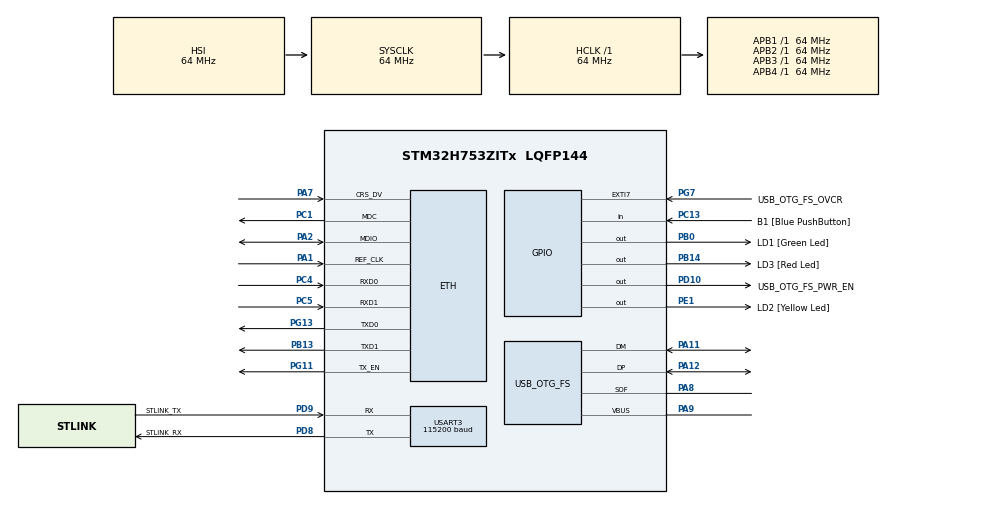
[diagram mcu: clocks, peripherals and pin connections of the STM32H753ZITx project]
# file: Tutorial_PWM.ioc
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CORTEX_M7.CPU_DCache=Disabled
CORTEX_M7.CPU_ICache=Disabled
CORTEX_M7.MPU_Control=__NULL
ETH.ETH_RX_DESC_CNT=4
ETH.ETH_TX_DESC_CNT=4
ETH.MACAddr=00\:80\:E1\:00\:00\:00
ETH.MediaInterface=HAL_ETH_RMII_MODE
ETH.RxBuffAddress=0x30040200
ETH.RxBuffLen=1524
ETH.RxDescAddress=0x30040000
ETH.TxDescAddress=0x30040060
Mcu.Family=STM32H7
Mcu.Name=STM32H753ZITx
Mcu.Package=LQFP144
NVIC.PriorityGroup=NVIC_PRIORITYGROUP_4
PA1.Mode=RMII
PA1.Signal=ETH_REF_CLK
PA11.Mode=Device_Only
PA11.Signal=USB_OTG_FS_DM
PA12.Mode=Device_Only
PA12.Signal=USB_OTG_FS_DP
PA2.Mode=RMII
PA2.Signal=ETH_MDIO
PA7.Mode=RMII
PA7.Signal=ETH_CRS_DV
PA8.Mode=Activate_SOF_FS
PA8.Signal=USB_OTG_FS_SOF
PA9.Mode=Activate_VBUS
PA9.Signal=USB_OTG_FS_VBUS
PB0.GPIO_Label=LD1 [Green Led]
PB0.GPIO_Speed=GPIO_SPEED_FREQ_VERY_HIGH
PB0.Signal=GPIO_Output
PB13.Mode=RMII
PB13.Signal=ETH_TXD1
PB14.GPIO_Label=LD3 [Red Led]
PB14.GPIO_Speed=GPIO_SPEED_FREQ_VERY_HIGH
PB14.Signal=GPIO_Output
PC1.Mode=RMII
PC1.Signal=ETH_MDC
PC13.GPIO_Label=B1 [Blue PushButton]
PC13.Signal=GPIO_Input
PC14-OSC32_IN\ (OSC32_IN).Mode=LSE-External-Oscillator
PC14-OSC32_IN\ (OSC32_IN).Signal=RCC_OSC32_IN
PC15-OSC32_OUT\ (OSC32_OUT).Mode=LSE-External-Oscillator
PC15-OSC32_OUT\ (OSC32_OUT).Signal=RCC_OSC32_OUT
PC4.Mode=RMII
PC4.Signal=ETH_RXD0
PC5.Mode=RMII
PC5.Signal=ETH_RXD1
PD10.GPIO_Label=USB_OTG_FS_PWR_EN
PD10.Signal=GPIO_Output
PD8.GPIO_Label=STLINK_RX
PD8.Mode=Asynchronous
PD8.Signal=USART3_TX
PD9.GPIO_Label=STLINK_TX
PD9.Mode=Asynchronous
PD9.Signal=USART3_RX
PE1.GPIO_Label=LD2 [Yellow Led]
PE1.GPIO_Speed=GPIO_SPEED_FREQ_VERY_HIGH
PE1.Signal=GPIO_Output
PG11.Mode=RMII
PG11.Signal=ETH_TX_EN
PG13.Mode=RMII
PG13.Signal=ETH_TXD0
PG7.GPIO_Label=USB_OTG_FS_OVCR
PG7.Signal=GPXTI7
PH0-OSC_IN\ (PH0).Mode=HSE-External-Clock-Source
PH0-OSC_IN\ (PH0).Signal=RCC_OSC_IN
PH1-OSC_OUT\ (PH1).Signal=RCC_OSC_OUT
ProjectManager.HeapSize=0x200
ProjectManager.StackSize=0x400
ProjectManager.TargetToolchain=STM32CubeIDE
RCC.ADCFreq_Value=16125000
RCC.APB1Freq_Value=64000000
RCC.APB2Freq_Value=64000000
RCC.APB3Freq_Value=64000000
RCC.APB4Freq_Value=64000000
RCC.CortexFreq_Value=64000000
RCC.DIVM1=1
RCC.DIVN1=24
RCC.DIVQ1=4
RCC.HCLKFreq_Value=64000000
RCC.HSE_VALUE=8000000
RCC.PLLFRACN=0
RCC.PWR_Regulator_Voltage_Scale=PWR_REGULATOR_VOLTAGE_SCALE2
RCC.SYSCLKFreq_VALUE=64000000
RCC.USBFreq_Value=48000000
USART3.AutoBaudRateEnableParam=UART_ADVFEATURE_AUTOBAUDRATE_DISABLE
USART3.BaudRate=115200
USART3.ClockPrescaler=PRESCALER_DIV1
USART3.DMADisableonRxErrorParam=ADVFEATURE_DMA_ENABLEONRXERROR
USART3.DataInvertParam=ADVFEATURE_DATAINV_DISABLE
USART3.FIFOMode=FIFOMODE_DISABLE
USART3.MSBFirstParam=ADVFEATURE_MSBFIRST_DISABLE
USART3.Mode=MODE_TX_RX
USART3.OneBitSampling=UART_ONE_BIT_SAMPLE_DISABLE
USART3.OverSampling=UART_OVERSAMPLING_16
USART3.OverrunDisableParam=ADVFEATURE_OVERRUN_ENABLE
USART3.Parity=PARITY_NONE
USART3.RXFIFOThreshold=RXFIFO_THRESHOLD_1EIGHTHFULL
USART3.RxPinLevelInvertParam=ADVFEATURE_RXINV_DISABLE
USART3.StopBits=STOPBITS_1
USART3.SwapParam=ADVFEATURE_SWAP_DISABLE
USART3.TXFIFOThreshold=TXFIFO_THRESHOLD_1EIGHTHFULL
USART3.TxPinLevelInvertParam=ADVFEATURE_TXINV_DISABLE
USART3.VirtualMode-Asynchronous=VM_ASYNC
USART3.WordLength=WORDLENGTH_8B
USB_OTG_FS.Sof_enable=ENABLE
USB_OTG_FS.VirtualMode=Device_Only
USB_OTG_FS.battery_charging_enable=ENABLE
USB_OTG_FS.low_power_enable=DISABLE
USB_OTG_FS.lpm_enable=DISABLE
USB_OTG_FS.use_dedicated_ep1=DISABLE
USB_OTG_FS.vbus_sensing_enable=ENABLE
board=NUCLEO-H753ZI

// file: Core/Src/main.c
/* USER CODE BEGIN Header */
/**
  ******************************************************************************
  * @file           : main.c
  * @brief          : Main program body
  ******************************************************************************
  * @attention
  *
  * Copyright (c) 2024 STMicroelectronics.
  * All rights reserved.
  *
  * This software is licensed under terms that can be found in the LICENSE file
  * in the root directory of this software component.
  * If no LICENSE file comes with this software, it is provided AS-IS.
  *
  ******************************************************************************
  */
/* USER CODE END Header */
#include "main.h"
#include "string.h"

#if defined ( __ICCARM__ ) /*!< IAR Compiler */
#pragma location=0x30040000
ETH_DMADescTypeDef  DMARxDscrTab[ETH_RX_DESC_CNT]; /* Ethernet Rx DMA Descriptors */
#pragma location=0x30040060
ETH_DMADescTypeDef  DMATxDscrTab[ETH_TX_DESC_CNT]; /* Ethernet Tx DMA Descriptors */

#elif defined ( __CC_ARM )  /* MDK ARM Compiler */

__attribute__((at(0x30040000))) ETH_DMADescTypeDef  DMARxDscrTab[ETH_RX_DESC_CNT]; /* Ethernet Rx DMA Descriptors */
__attribute__((at(0x30040060))) ETH_DMADescTypeDef  DMATxDscrTab[ETH_TX_DESC_CNT]; /* Ethernet Tx DMA Descriptors */

#elif defined ( __GNUC__ ) /* GNU Compiler */

ETH_DMADescTypeDef DMARxDscrTab[ETH_RX_DESC_CNT] __attribute__((section(".RxDecripSection"))); /* Ethernet Rx DMA Descriptors */
ETH_DMADescTypeDef DMATxDscrTab[ETH_TX_DESC_CNT] __attribute__((section(".TxDecripSection")));   /* Ethernet Tx DMA Descriptors */
#endif

ETH_TxPacketConfig TxConfig;

ETH_HandleTypeDef heth;

UART_HandleTypeDef huart3;

PCD_HandleTypeDef hpcd_USB_OTG_FS;

void SystemClock_Config(void);
static void MX_GPIO_Init(void);
static void MX_ETH_Init(void);
static void MX_USART3_UART_Init(void);
static void MX_USB_OTG_FS_PCD_Init(void);

/* USER CODE BEGIN 0 */
void software_pwm(uint32_t frequency, uint32_t duty_cycle_R, uint32_t duty_cycle_Y, uint32_t duty_cycle_G)
{
    uint32_t period_ms = 1000 / frequency; // Período

    uint32_t on_time_R = (period_ms * duty_cycle_R) / 100; // ON time para o pino R
    uint32_t on_time_Y = (period_ms * duty_cycle_Y) / 100; // ON time para o pino Y
    uint32_t on_time_G = (period_ms * duty_cycle_G) / 100; // ON time para o pino G

    for (uint32_t t = 0; t < period_ms; t++)
    {
        // Pino Vermelho
        if (t < on_time_R) {
            HAL_GPIO_WritePin(GPIOB, GPIO_PIN_14, GPIO_PIN_SET);
        } else {
            HAL_GPIO_WritePin(GPIOB, GPIO_PIN_14, GPIO_PIN_RESET);
        }

        // Pino Amarelo
        if (t < on_time_Y) {
            HAL_GPIO_WritePin(GPIOE, GPIO_PIN_1, GPIO_PIN_SET);
        } else {
            HAL_GPIO_WritePin(GPIOE, GPIO_PIN_1, GPIO_PIN_RESET);
        }

        // Pino Verde
        if (t < on_time_G) {
            HAL_GPIO_WritePin(GPIOB, GPIO_PIN_0, GPIO_PIN_SET);
        } else {
            HAL_GPIO_WritePin(GPIOB, GPIO_PIN_0, GPIO_PIN_RESET);
        }

        // Espera 1 ms antes de verificar novamente os estados de cada pino
        HAL_Delay(1);
    }
}
/* USER CODE END 0 */

int main(void)
{

  /* MCU Configuration--------------------------------------------------------*/

  /* Reset of all peripherals, Initializes the Flash interface and the Systick. */
  HAL_Init();

  /* Configure the system clock */
  SystemClock_Config();

  /* Initialize all configured peripherals */
  MX_GPIO_Init();
  MX_ETH_Init();
  MX_USART3_UART_Init();
  MX_USB_OTG_FS_PCD_Init();
  /* USER CODE BEGIN 2 */
	uint32_t frequency = 100; // Frequência de 100 mHz
	uint32_t duty_cycle_R = 90; // Duty cycle do pino vermelho (90%)
	uint32_t duty_cycle_Y = 10; // Duty cycle do pino amarelo (10%)
	uint32_t duty_cycle_G = 30; // Duty cycle do pino verde (30%)
  /* USER CODE END 2 */

  /* Infinite loop */
  while (1)
  {

    /* USER CODE BEGIN 3 */
	  software_pwm(frequency, duty_cycle_R, duty_cycle_Y, duty_cycle_G);
  }
  /* USER CODE END 3 */
}

void SystemClock_Config(void)
{
  RCC_OscInitTypeDef RCC_OscInitStruct = {0};
  RCC_ClkInitTypeDef RCC_ClkInitStruct = {0};

  /** Supply configuration update enable
  */
  HAL_PWREx_ConfigSupply(PWR_LDO_SUPPLY);

  /** Configure the main internal regulator output voltage
  */
  __HAL_PWR_VOLTAGESCALING_CONFIG(PWR_REGULATOR_VOLTAGE_SCALE2);

  while(!__HAL_PWR_GET_FLAG(PWR_FLAG_VOSRDY)) {}

  /** Initializes the RCC Oscillators according to the specified parameters
  * in the RCC_OscInitTypeDef structure.
  */
  RCC_OscInitStruct.OscillatorType = RCC_OSCILLATORTYPE_HSI|RCC_OSCILLATORTYPE_HSE;
  RCC_OscInitStruct.HSEState = RCC_HSE_BYPASS;
  RCC_OscInitStruct.HSIState = RCC_HSI_DIV1;
  RCC_OscInitStruct.HSICalibrationValue = RCC_HSICALIBRATION_DEFAULT;
  RCC_OscInitStruct.PLL.PLLState = RCC_PLL_ON;
  RCC_OscInitStruct.PLL.PLLSource = RCC_PLLSOURCE_HSE;
  RCC_OscInitStruct.PLL.PLLM = 1;
  RCC_OscInitStruct.PLL.PLLN = 24;
  RCC_OscInitStruct.PLL.PLLP = 2;
  RCC_OscInitStruct.PLL.PLLQ = 4;
  RCC_OscInitStruct.PLL.PLLR = 2;
  RCC_OscInitStruct.PLL.PLLRGE = RCC_PLL1VCIRANGE_3;
  RCC_OscInitStruct.PLL.PLLVCOSEL = RCC_PLL1VCOWIDE;
  RCC_OscInitStruct.PLL.PLLFRACN = 0;
  if (HAL_RCC_OscConfig(&RCC_OscInitStruct) != HAL_OK)
  {
    Error_Handler();
  }

  /** Initializes the CPU, AHB and APB buses clocks
  */
  RCC_ClkInitStruct.ClockType = RCC_CLOCKTYPE_HCLK|RCC_CLOCKTYPE_SYSCLK
                              |RCC_CLOCKTYPE_PCLK1|RCC_CLOCKTYPE_PCLK2
                              |RCC_CLOCKTYPE_D3PCLK1|RCC_CLOCKTYPE_D1PCLK1;
  RCC_ClkInitStruct.SYSCLKSource = RCC_SYSCLKSOURCE_HSI;
  RCC_ClkInitStruct.SYSCLKDivider = RCC_SYSCLK_DIV1;
  RCC_ClkInitStruct.AHBCLKDivider = RCC_HCLK_DIV1;
  RCC_ClkInitStruct.APB3CLKDivider = RCC_APB3_DIV1;
  RCC_ClkInitStruct.APB1CLKDivider = RCC_APB1_DIV1;
  RCC_ClkInitStruct.APB2CLKDivider = RCC_APB2_DIV1;
  RCC_ClkInitStruct.APB4CLKDivider = RCC_APB4_DIV1;

  if (HAL_RCC_ClockConfig(&RCC_ClkInitStruct, FLASH_LATENCY_1) != HAL_OK)
  {
    Error_Handler();
  }
}

static void MX_ETH_Init(void)
{

   static uint8_t MACAddr[6];

  heth.Instance = ETH;
  MACAddr[0] = 0x00;
  MACAddr[1] = 0x80;
  MACAddr[2] = 0xE1;
  MACAddr[3] = 0x00;
  MACAddr[4] = 0x00;
  MACAddr[5] = 0x00;
  heth.Init.MACAddr = &MACAddr[0];
  heth.Init.MediaInterface = HAL_ETH_RMII_MODE;
  heth.Init.TxDesc = DMATxDscrTab;
  heth.Init.RxDesc = DMARxDscrTab;
  heth.Init.RxBuffLen = 1524;

  if (HAL_ETH_Init(&heth) != HAL_OK)
  {
    Error_Handler();
  }

  memset(&TxConfig, 0 , sizeof(ETH_TxPacketConfig));
  TxConfig.Attributes = ETH_TX_PACKETS_FEATURES_CSUM | ETH_TX_PACKETS_FEATURES_CRCPAD;
  TxConfig.ChecksumCtrl = ETH_CHECKSUM_IPHDR_PAYLOAD_INSERT_PHDR_CALC;
  TxConfig.CRCPadCtrl = ETH_CRC_PAD_INSERT;

}

static void MX_USART3_UART_Init(void)
{

  huart3.Instance = USART3;
  huart3.Init.BaudRate = 115200;
  huart3.Init.WordLength = UART_WORDLENGTH_8B;
  huart3.Init.StopBits = UART_STOPBITS_1;
  huart3.Init.Parity = UART_PARITY_NONE;
  huart3.Init.Mode = UART_MODE_TX_RX;
  huart3.Init.HwFlowCtl = UART_HWCONTROL_NONE;
  huart3.Init.OverSampling = UART_OVERSAMPLING_16;
  huart3.Init.OneBitSampling = UART_ONE_BIT_SAMPLE_DISABLE;
  huart3.Init.ClockPrescaler = UART_PRESCALER_DIV1;
  huart3.AdvancedInit.AdvFeatureInit = UART_ADVFEATURE_NO_INIT;
  if (HAL_UART_Init(&huart3) != HAL_OK)
  {
    Error_Handler();
  }
  if (HAL_UARTEx_SetTxFifoThreshold(&huart3, UART_TXFIFO_THRESHOLD_1_8) != HAL_OK)
  {
    Error_Handler();
  }
  if (HAL_UARTEx_SetRxFifoThreshold(&huart3, UART_RXFIFO_THRESHOLD_1_8) != HAL_OK)
  {
    Error_Handler();
  }
  if (HAL_UARTEx_DisableFifoMode(&huart3) != HAL_OK)
  {
    Error_Handler();
  }

}

static void MX_USB_OTG_FS_PCD_Init(void)
{

  hpcd_USB_OTG_FS.Instance = USB_OTG_FS;
  hpcd_USB_OTG_FS.Init.dev_endpoints = 9;
  hpcd_USB_OTG_FS.Init.speed = PCD_SPEED_FULL;
  hpcd_USB_OTG_FS.Init.dma_enable = DISABLE;
  hpcd_USB_OTG_FS.Init.phy_itface = PCD_PHY_EMBEDDED;
  hpcd_USB_OTG_FS.Init.Sof_enable = ENABLE;
  hpcd_USB_OTG_FS.Init.low_power_enable = DISABLE;
  hpcd_USB_OTG_FS.Init.lpm_enable = DISABLE;
  hpcd_USB_OTG_FS.Init.battery_charging_enable = ENABLE;
  hpcd_USB_OTG_FS.Init.vbus_sensing_enable = ENABLE;
  hpcd_USB_OTG_FS.Init.use_dedicated_ep1 = DISABLE;
  if (HAL_PCD_Init(&hpcd_USB_OTG_FS) != HAL_OK)
  {
    Error_Handler();
  }

}

static void MX_GPIO_Init(void)
{
  GPIO_InitTypeDef GPIO_InitStruct = {0};

  /* GPIO Ports Clock Enable */
  __HAL_RCC_GPIOC_CLK_ENABLE();
  __HAL_RCC_GPIOH_CLK_ENABLE();
  __HAL_RCC_GPIOA_CLK_ENABLE();
  __HAL_RCC_GPIOB_CLK_ENABLE();
  __HAL_RCC_GPIOD_CLK_ENABLE();
  __HAL_RCC_GPIOG_CLK_ENABLE();
  __HAL_RCC_GPIOE_CLK_ENABLE();

  /*Configure GPIO pin Output Level */
  HAL_GPIO_WritePin(GPIOB, LD1_Pin|LD3_Pin, GPIO_PIN_RESET);

  /*Configure GPIO pin Output Level */
  HAL_GPIO_WritePin(USB_OTG_FS_PWR_EN_GPIO_Port, USB_OTG_FS_PWR_EN_Pin, GPIO_PIN_RESET);

  /*Configure GPIO pin Output Level */
  HAL_GPIO_WritePin(LD2_GPIO_Port, LD2_Pin, GPIO_PIN_RESET);

  /*Configure GPIO pin : B1_Pin */
  GPIO_InitStruct.Pin = B1_Pin;
  GPIO_InitStruct.Mode = GPIO_MODE_INPUT;
  GPIO_InitStruct.Pull = GPIO_NOPULL;
  HAL_GPIO_Init(B1_GPIO_Port, &GPIO_InitStruct);

  /*Configure GPIO pins : LD1_Pin LD3_Pin */
  GPIO_InitStruct.Pin = LD1_Pin|LD3_Pin;
  GPIO_InitStruct.Mode = GPIO_MODE_OUTPUT_PP;
  GPIO_InitStruct.Pull = GPIO_NOPULL;
  GPIO_InitStruct.Speed = GPIO_SPEED_FREQ_VERY_HIGH;
  HAL_GPIO_Init(GPIOB, &GPIO_InitStruct);

  /*Configure GPIO pin : USB_OTG_FS_PWR_EN_Pin */
  GPIO_InitStruct.Pin = USB_OTG_FS_PWR_EN_Pin;
  GPIO_InitStruct.Mode = GPIO_MODE_OUTPUT_PP;
  GPIO_InitStruct.Pull = GPIO_NOPULL;
  GPIO_InitStruct.Speed = GPIO_SPEED_FREQ_LOW;
  HAL_GPIO_Init(USB_OTG_FS_PWR_EN_GPIO_Port, &GPIO_InitStruct);

  /*Configure GPIO pin : USB_OTG_FS_OVCR_Pin */
  GPIO_InitStruct.Pin = USB_OTG_FS_OVCR_Pin;
  GPIO_InitStruct.Mode = GPIO_MODE_IT_RISING;
  GPIO_InitStruct.Pull = GPIO_NOPULL;
  HAL_GPIO_Init(USB_OTG_FS_OVCR_GPIO_Port, &GPIO_InitStruct);

  /*Configure GPIO pin : LD2_Pin */
  GPIO_InitStruct.Pin = LD2_Pin;
  GPIO_InitStruct.Mode = GPIO_MODE_OUTPUT_PP;
  GPIO_InitStruct.Pull = GPIO_NOPULL;
  GPIO_InitStruct.Speed = GPIO_SPEED_FREQ_VERY_HIGH;
  HAL_GPIO_Init(LD2_GPIO_Port, &GPIO_InitStruct);

}

void Error_Handler(void)
{
  __disable_irq();
  while (1)
  {
  }
}
